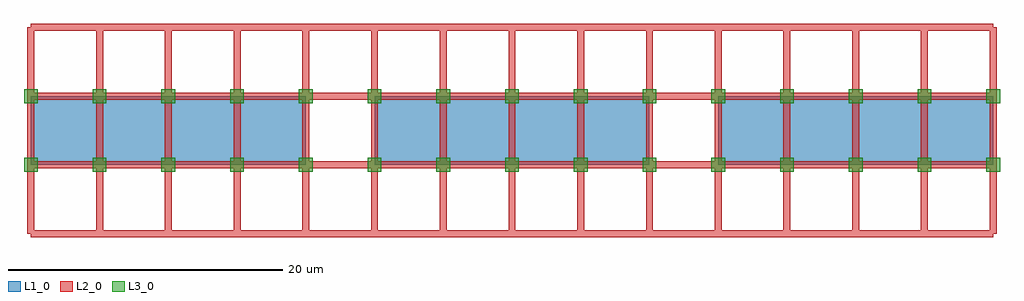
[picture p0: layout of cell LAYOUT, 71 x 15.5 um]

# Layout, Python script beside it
import gdspy

# Create a new GDSII library and cell
lib = gdspy.GdsLibrary()
cell = lib.new_cell('LAYOUT')

# Active regions (layer 1)
active1 = gdspy.Rectangle((0, 0), (20, 5), layer=1)
active2 = gdspy.Rectangle((25, 0), (45, 5), layer=1)
active3 = gdspy.Rectangle((50, 0), (70, 5), layer=1)
cell.add([active1, active2, active3])

# Polysilicon gate pattern (grid-like structure with widths of 0.5 µm) on layer 2
vertical_lines = []
for x in range(0, 71, 5):  # x from 0 to 70 inclusive, step 5 µm
    line = gdspy.Rectangle((x - 0.25, -5), (x + 0.25, 10), layer=2)
    vertical_lines.append(line)
cell.add(vertical_lines)

horizontal_lines = []
for y in range(-5, 11, 5):  # y from -5 to 10 inclusive, step 5 µm
    line = gdspy.Rectangle((0, y - 0.25), (70, y + 0.25), layer=2)
    horizontal_lines.append(line)
cell.add(horizontal_lines)

# Contact holes (1 µm x 1 µm) at intersections on layer 3
x_positions = [x for x in range(0, 71, 5)]  # Vertical lines positions
y_positions = [0, 5]  # Only positions within active regions

# Function to check if x is within any active region
def in_active_region(x):
    active_regions = [(0, 20), (25, 45), (50, 70)]
    for x_min, x_max in active_regions:
        if x >= x_min and x <= x_max:
            return True
    return False

# Positions where contacts should be placed
contact_positions = [(x, y) for x in x_positions if in_active_region(x) for y in y_positions]

# Create contact holes
contact_holes = []
for x, y in contact_positions:
    contact = gdspy.Rectangle((x - 0.5, y - 0.5), (x + 0.5, y + 0.5), layer=3)
    contact_holes.append(contact)
cell.add(contact_holes)

# Write the design to a GDS file
lib.write_gds('layout.gds')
